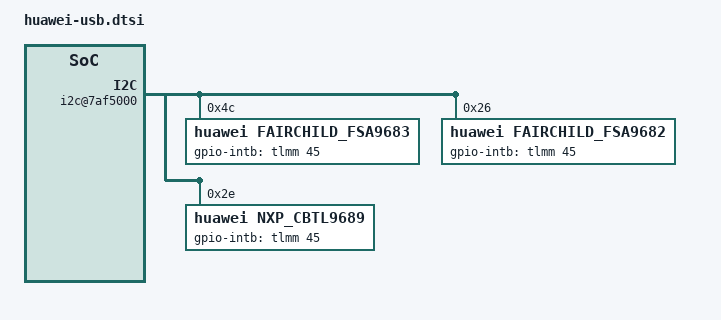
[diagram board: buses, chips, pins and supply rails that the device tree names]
&qusb_phy {
	qcom,qusb-phy-init-seq = <0xF8 0x80
				0x33 0x84
				0x83 0x88
				0xC0 0x8C
				0x30 0x08
				0x79 0x0C
				0x21 0x10
				0x14 0x9C
				0x9F 0x1C
				0x00 0x18>;
};

&soc {
	i2c@7af5000{
		fairchild_fsa9683: fsa9683@4c {
			compatible = "huawei,fairchild_fsa9683";
			reg = <0x4c>;
			fairchild_fsa9685,gpio-intb = <&tlmm 45 0>;
			status = "ok";
		};
		fairchild_fsa9682: fsa9682@26 {
			compatible = "huawei,fairchild_fsa9682";
			reg = <0x26>;
			fairchild_fsa9685,gpio-intb = <&tlmm 45 0>;
			status = "ok";
		};
		nxp_cbtl9689: cbtl9689@2e {
			compatible = "huawei,nxp_cbtl9689";
			reg = <0x2e>;
			fairchild_fsa9685,gpio-intb = <&tlmm 45 0>;
			status = "ok";
		};
	};
};

/* ===== NetHunter: 接入 PMIC ID 中断，恢复 OTG 检测 ===== */
&usb3 {
    /delete-property/ interrupts;
    interrupts-extended = <&intc 0 136 0>,
                          <&intc 0 220 0>,
                          <&intc 0 134 0>,
                          <&spmi_bus 0x2 0x11 0x3>;
    interrupt-names = "hs_phy_irq", "ss_phy_irq", "pwr_event_irq",
                      "pmic_id_irq";
    dwc3@7000000 {
        dr_mode = "otg";
    };
};
